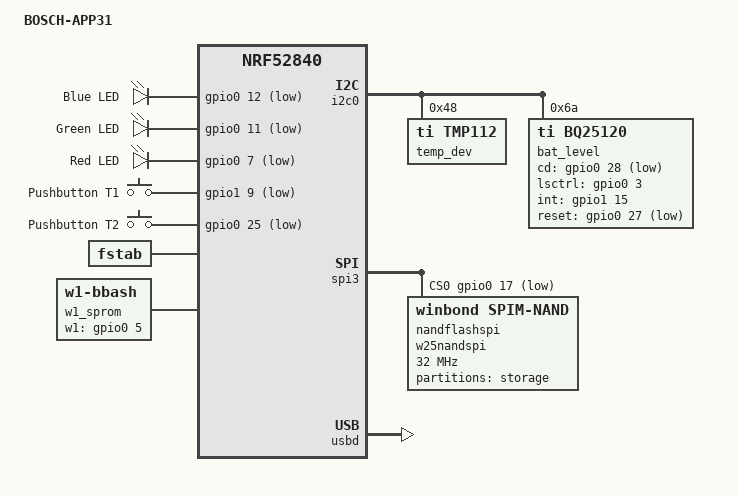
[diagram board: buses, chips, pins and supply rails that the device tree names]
/*
 * Copyright (c) 2023 Bosch Sensortec GmbH
 *
 * SPDX-License-Identifier: Apache-2.0
 *
 * Common Device Tree Definitions for Bosch Sensortec Application Board 3.1
 * This file contains the common definitions for APP31
 *
 *      NOTE ON REVISIONS
 *      =================
 * There are multiple alternative overlay DTS files for APP3.1 for different project configurations
 * Each alternative allocates the I2C and SPI modules for the shuttle board ports 
 * in a different way (in terms of pin allocation). Each overlay corresponds to a so-called
 * "revision number". The project should be built with the revision number that 
 * corresponds to its configuration. Note that "Revision" here actually means 
 * "alternative configuration" as per the terminology used in the Zephyr Build System
 *  
 * 
 * Rev No.		i2c1 					spi1 				spi2
 *  1		primary_i2c_port		disabled			primary_spi_port [DEFAULT]
 *  2		primary_i2c_port		disabled			aux_spi_port	
 *  3		aux_i2c_port			disabled			primary_spi_port	
 *  4		disabled				primary_spi_port	aux_spi_port
 *
 * Revision 1 is used by default if no revision is selected in the build. In this configuration
 * the primary port of the shuttle can be either i2c or spi. The application code can decide at runtime
 * which port is to be used (note that both cannot be used simultaneously, due to the design of the
 * sensors. This is compatible with applications written for V2.6 and older of COINES. The downside 
 * of this configuration is that the so-called "auxiliary ports" are not available (i.e. the OIS interface
 * or external temp sensor on some shuttle boards.)
 * Configurations 2, 3 and 4 are useful if access to the auxiliary ports is required. These are accessed by
 * using the COINES_SPI_BUS_1 and COINES_I2C_BUS_1 as first argument to the COINES i2c and spi API. using 
 * these arguments results in a runtime error in the default configuration, or in a configuration where one
 * or the other is not supported.
 * 
 */

/dts-v1/;
#include <nordic/nrf52840_qiaa.dtsi>
#include "bosch_app31-pinctrl.dtsi"

/ {
	model = "BOSCH-APP31";
	compatible = "nordic,bosch-app31";

	chosen {
		zephyr,console = &uart_dev;
		zephyr,shell-uart = &uart_dev;
		zephyr,bt-c2h-uart = &uart_dev;
		zephyr,sram = &sram0;
		zephyr,flash = &flash0;
		zephyr,code-partition = &slot0_partition;
	};

	led_rgb: leds {
		compatible = "gpio-leds";
		label = "leds";
		status = "okay";
		led_blue: led0: led_0 {
			gpios = <&gpio0 12 GPIO_ACTIVE_LOW>;
			label = "Blue LED";
		};
		led_green: led1: led_1 {
			gpios = <&gpio0 11 GPIO_ACTIVE_LOW>;
			label = "Green LED";
		};
		led_red: led2: led_2 {
			gpios = <&gpio0 7 GPIO_ACTIVE_LOW>;
			label = "Red LED";
		};
	};
	
	buttons {
		compatible = "gpio-keys";
		button_t1: button0: button_0 {
			gpios = <&gpio1 9 (GPIO_PULL_UP | GPIO_ACTIVE_LOW)>;
			label = "Pushbutton T1";
		};
		button_t2: button1: button_1 {
			gpios = <&gpio0 25 (GPIO_PULL_UP | GPIO_ACTIVE_LOW)>;
			label = "Pushbutton T2";
		};
	};
	/* These aliases are provided for compatibility with samples */
	aliases {
		led0 = &led0;
		led1 = &led1;
		led2 = &led2;
		sw0 = &button0;
		sw1 = &button1;
	};
	
	/*littlefs and FlogFS partitions on external spi flash*/
	fstab {
		compatible = "zephyr,fstab";
		lfs1: lfs1 {
			compatible = "zephyr,fstab,littlefs";
			mount-point = "/lfs1";
			partition = <&lfs1_part>;
			automount;
			
			read-size = <64>;
			prog-size = <64>;
			cache-size = <256>;
			lookahead-size = <128>;
			block-cycles = <512>; 
			
		};
		flog0: flog0 {
			compatible = "zephyr,fstab,flogfs";
			mount-point = "/flog0";
			partition = <&flog0_part>;
			automount;
			sector_size = <512>;
			sectors_per_page = <4>;
			pages_per_block = <64>;
			num_blocks = <2008>;
			pre_allocate_size = <10>;
			inode0_max_block = <32>;
		};
	};
	
	/*Shuttle Board Control Pins*/
	shuttle_board {
		compatible = "bosch,shuttle-board";
		shuttle_vdd_en: shuttle_vdd_en {
			gpios = <&gpio1 12 GPIO_ACTIVE_HIGH>;
			label = "Shuttle VDD Enable";
		};
		shuttle_vddio_en: shuttle_vddio_en {
			gpios = <&gpio0 02 GPIO_ACTIVE_HIGH>;
			label = "Shuttle VDDIO Enable";
		};
		shuttle_gpio0: shuttle_pin_1_4: shuttle_gpio0 {
			gpios = <&gpio0 14 GPIO_ACTIVE_HIGH>;
			label = "Shuttle GPIO0";
		};
		shuttle_gpio1: shuttle_pin_1_5: shuttle_gpio1 {
			gpios = <&gpio1 13 GPIO_ACTIVE_HIGH>;
			label = "Shuttle GPIO1";
		};
		shuttle_gpio2_int1: shuttle_pin_1_6: shuttle_gpio2_int1 {
			gpios = <&gpio1 1 GPIO_ACTIVE_HIGH>;
			label = "Shuttle GPIO2/INT1";
		};
		shuttle_gpio3_int2: shuttle_pin_1_7: shuttle_gpio3_int2 {
			gpios = <&gpio1 8 GPIO_ACTIVE_HIGH>;
			label = "Shuttle GPIO3/INT2";
		};
		shuttle_cs: shuttle_pin_2_1: shuttle_cs {
			gpios = <&gpio0 24 GPIO_ACTIVE_HIGH>;
			label = "Shuttle Chip Select";
		};
		shuttle_sck_scl: shuttle_pin_2_2: shuttle_sck_scl {
			gpios = <&gpio0 16 GPIO_ACTIVE_HIGH>;
			label = "Shuttle SCK/SCL";
		};
		shuttle_sdo: shuttle_pin_2_3: shuttle_sdo {
			gpios = <&gpio0 15 GPIO_ACTIVE_HIGH>;
			label = "Shuttle SDO";
		};
		shuttle_sdi_sda: shuttle_pin_2_4: shuttle_sdi_sda {
			gpios = <&gpio0 6 GPIO_ACTIVE_HIGH>;
			label = "Shuttle SDI/SDA";
		};
		shuttle_gpio4_ocsb: shuttle_pin_2_5: shuttle_gpio4_ocsb {
			gpios = <&gpio1 3 GPIO_ACTIVE_HIGH>;
			label = "Shuttle GPIO4/OCSB";
		};
		shuttle_gpio5_ascx: shuttle_pin_2_6: shuttle_gpio5_ascx {
			gpios = <&gpio1 2 GPIO_ACTIVE_HIGH>;
			label = "Shuttle GPIO5/ASCx";
		};
		shuttle_gpio6_osdo: shuttle_pin_2_7: shuttle_gpio6_osdo {
			gpios = <&gpio1 11 GPIO_ACTIVE_HIGH>;
			label = "Shuttle GPIO6/OSDO";
		};
		shuttle_gpio7_asdx: shuttle_pin_2_8: shuttle_gpio7_asdx {
			gpios = <&gpio1 10 GPIO_ACTIVE_HIGH>;
			label = "Shuttle GPIO7/ASDx";
		};
		shuttle_prom_rw: shuttle_pin_2_9: shuttle_prom_rw {
			gpios = <&gpio0 5 GPIO_ACTIVE_HIGH>;
			label = "Shuttle PROM RW";
		};
	};

	/*1-wire eeprom on shuttle board connected to P0.5 */
	w1_sprom: w1{
		compatible = "w1-bbash";
		status = "okay";
		w1-gpios   = <&gpio0 5 GPIO_ACTIVE_HIGH>;
		nrf_timer_num = <1>;
		sprom: shuttle_prom {
			compatible = "maxim,ds28e05";
			status = "okay";
		};
	};
};

&gpiote {
	status = "okay";
};

&gpio0 {
	status = "okay";
};

&gpio1 {
	status = "okay";
};


/*i2c0 is always used for the onboard temp sensor TM112, PMIC and external sensors*/
&i2c0 {
	compatible = "nordic,nrf-twi";
	status = "okay";
	//sda-pin = <29>;
	//scl-pin = <26>;
	pinctrl-0 = <&i2c0_default>;
	pinctrl-1 = <&i2c0_sleep>;
	pinctrl-names = "default", "sleep";
	temp_dev: tmp112@48 {
		compatible = "ti,tmp112";
		/* For Temperature I2C of Application Board 3.1. 
		It has the I2C slave device address of 0x48 */
		reg = <0x48>;
		status = "okay";
	};

	bat_level: pmic: bq25120@6a {
		compatible = "ti,bq25120";
		status = "okay";
		reg = <0x6a>;
		cd-gpios = <&gpio0 28 GPIO_ACTIVE_LOW>;
		lsctrl-gpios = <&gpio0 3 GPIO_ACTIVE_HIGH>;
		int-gpios = <&gpio1 15 GPIO_ACTIVE_HIGH>;	
	    reset-gpios = <&gpio0 27 GPIO_ACTIVE_LOW>;
		//Output Voltage settings
		sys_vout_mv = <1800>;	//Output voltage of SYS in mv - min 1100, max 3300, 0 to disable (0,1.1-3.3V)
		ls_ldo_mv = <1800>;		//Output voltage of LS/LDO in mv - min 800, max 3300, 0 to disable (0,0.8-3.3V)
		//Settings for LP4030 3.7 V, 450mAH battery
		bat_reg_mv = <3700>;	//regulation voltage of battery in mv (3.6-4.65V)
		ilim_ma = <200>;		//Input current limit of device in mA. (50-400 mA)
		bat_uvlo_mv = <2750>;	//Battery under-voltage lockout in mV (2.2-3 V, Disable UVLO:0)
		icharge_ma = <200>; 	//Charging current in mA (5-300mA, Disable Charger:0)
		ipreterm_ua = <20000>;	//pre-charging current/terminating current in uA 
								//(500uA to 37000uA (37mA), Disable Termination:0)
								//This is charging current at start and end of charging, usually 10% of peak
		//Interrupt Settings
		mrreset_vin = <0>;		// Reset when Reset time expires 0-Always 1-When Vin is healthy
		wake1_ms= <50>;			// Wake1 time setting in ms - 50 or 500 ms, 0 to disable 
		wake2_ms= <1500>;		// Wake2 time setting in ms - 1000 or 1500 ms, 0 to disable 
		reset_s= <8>;			// Reset time setting in Sec - 4, 8, 10 or 14, 0 to disable 
		mrrec = <1>;			// After Reset, device enters 0 - Ship mode, 1 - Hi-Z Mode
		timer_int_en  =<0>;		// Enable interrupt signalling of timer events
    	ts_int_en = <0>;		// Enable interrupt signalling of temperature sensor (TS) events
	    charge_int_en = <0>;	// Enable interrupt signalling of charging events
		pg_mr = <0>;			// Use PG Output as 0-Power Good Status, 1-MR Input Status
	};
};


/* For External Flash SPI of Application Board 3.1 
SPI3 is being used as it is the only SPI module compatible 
with 32Mhz operation. This is also possible only in SPIM mode
(SPI with EasyDMA)*/
&spi3 {
	compatible = "nordic,nrf-spim";
	status = "okay";
	//sck-pin  = <19>;
	//mosi-pin = <20>;
	//miso-pin = <21>;
	pinctrl-0 = <&spi3_default>;
	pinctrl-1 = <&spi3_sleep>;
	pinctrl-names = "default", "sleep";
	cs-gpios   = <&gpio0 17 GPIO_ACTIVE_LOW>;
	/*External Flash*/
	/*Valid for Winbond NAND SPI devices W25M02GW,W25N01GW and W25N02JW*/
	nandflashspi:w25nandspi@0 {
		compatible = "winbond,spim-nand";
		spi-max-frequency = <32000000>; /*32 Mhz (previously 8)*/
		reg = <0>;
		//label = "W25NANDSPI";
		//hold-gpios = <&gpio0 23 GPIO_ACTIVE_HIGH>; //hold and wp are directly wired to VDD in APP3.1
		//wp-gpios   = <&gpio0 22 GPIO_ACTIVE_HIGH>;
		status = "okay";
		partitions {
			compatible = "fixed-partitions";
			#address-cells = <1>;
			#size-cells = <1>;
			/*Both FlogFS and LittleFS use the same partition (viz the full external flash).
			 Only one should be activated in prj.conf. 
			 If both are to be used simultaneously, two partitions should be defined below*/
			flog0_part: lfs1_part: partition@0 {
				label = "storage";
				reg = <0x00000000 0x0FB00000>; /*512*4*64*2008=263192576 = 0xFB00000*/
			};
		};
	};	
};

&flash0 {

	partitions {
		compatible = "fixed-partitions";
		#address-cells = <1>;
		#size-cells = <1>;
		/*
		 * The following partitions are pre-flashed on Application Board 3.1
		 * 0x000000000 (160kB) : Nordic Semiconductor Soft Device S140 with Bluetooth Stack
		 * 0x000028000 (32kB)  : USB MTP Firmware
		 * 0x000030000 (768kB) : Application
		 * 0x0000f0000 (64kB)  : USB DFU Bootloader
		 * The range from 0x00030000 to 0x0000f0000 is avaiable for the application
		 * This is divided into slot0 (360kB), slot1 (360kB) and scratch (64kB) to enable firmware 
		 * upgrade feature. If this is not required, a single slot0 of 768kb can be defined
		 * Code RAM 0x00800000 (256kB)
		 * Above pre-flashed sectors are not used by ZCOINES. Slot0 can be started from 0x0000 
		 * if compatability with old COINES is not required 
		 */
/*		sd_partition: partition@0 {
			label = "nssd-s140";
			reg = <0x000000000 0x00028000>;
		};
		mtp_partition: partition@28000 {
			label = "usb-mtp";
			reg = <0x000028000 0x00008000>;
		};	
		slot0_partition: partition@30000 {
			label = "image-0";
			reg = <0x00030000 0x00058000>;
		};
		slot1_partition: partition@88000 {
			label = "image-1";
			reg = <0x00088000 0x00058000>;
		};
		scratch_partition: partition@e0000 {
			label = "image-scratch";
			reg = <0x000e0000 0x00010000>;
		};*/
		slot0_partition: partition@30000 {
			label = "image-0";
			reg = <0x00030000 0x000C0000>;
		};
		boot_partition: partition@f0000 {
			label = "mcuboot";
			reg = <0x000f0000 0x00010000>;
		};
	};
};

zephyr_udc0: &usbd {
	compatible = "nordic,nrf-usbd";
	status = "okay";
	
	uart_dev: cdc_acm_uart {
		compatible = "zephyr,cdc-acm-uart";
	};
};
